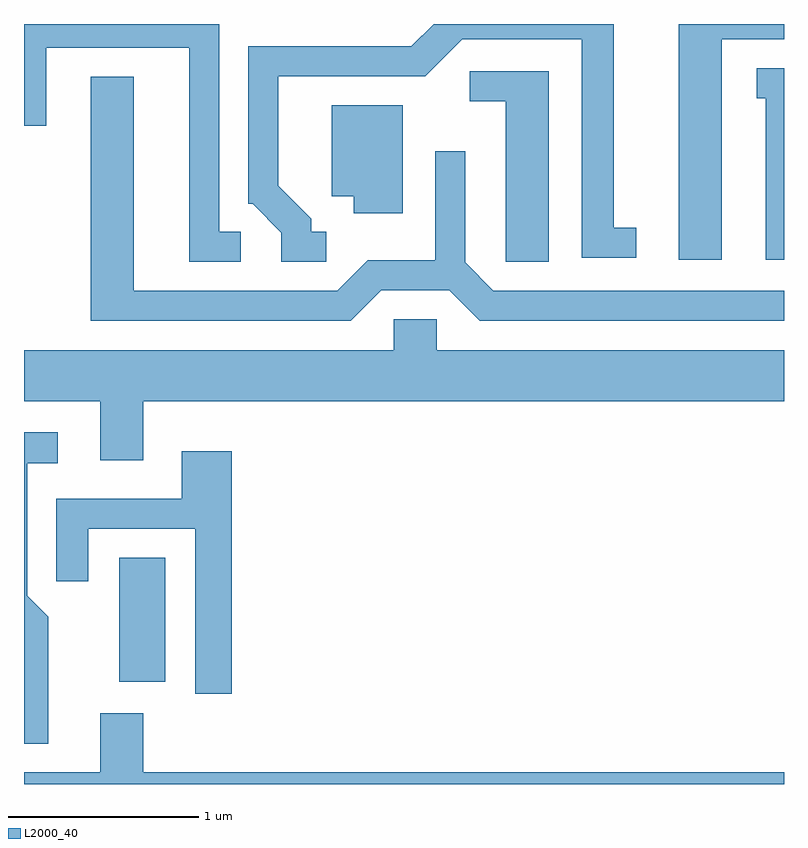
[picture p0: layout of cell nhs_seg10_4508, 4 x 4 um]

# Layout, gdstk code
import gdstk
lib = gdstk.Library(unit=1e-6, precision=1e-09)
def R(c, l, rs):  # rectangles x0, y0, x1, y1
    for r in rs: c.add(gdstk.rectangle(r[:2], r[2:], *l))
def P(c, l, *ps):  # polygons
    for p in ps: c.add(gdstk.Polygon(p, *l))
L2000_40 = (2000, 40)

nhs_seg10_4508 = lib.new_cell('nhs_seg10_4508')
R(nhs_seg10_4508, L2000_40, [(318.111,2159.061,318.354,2159.714)])
P(nhs_seg10_4508, L2000_40, [(319.203,2161.429),(319.124,2161.429),(319.124,2161.497),(318.949,2161.672),(318.949,2162.246),(319.722,2162.246),(319.917,2162.441),(320.546,2162.441),(320.546,2161.291),(320.833,2161.291),(320.833,2161.449),(320.714,2161.449),(320.714,2162.522),(319.767,2162.522),(319.649,2162.404),(318.791,2162.404),(318.791,2161.576),(318.814,2161.576),(318.966,2161.424),(318.966,2161.271),(319.203,2161.271)],
  [(321.284,2162.441),(321.611,2162.441),(321.611,2162.522),(321.056,2162.522),(321.056,2161.281),(321.284,2161.281)],
  [(318.753,2161.429),(318.639,2161.429),(318.639,2162.522),(317.611,2162.522),(317.611,2161.986),(317.729,2161.986),(317.729,2162.396),(318.481,2162.396),(318.481,2161.271),(318.753,2161.271)],
  [(321.611,2162.289),(321.468,2162.289),(321.468,2162.131),(321.516,2162.131),(321.516,2161.281),(321.611,2161.281)],
  [(320.374,2162.274),(319.958,2162.274),(319.958,2162.116),(320.146,2162.116),(320.146,2161.271),(320.374,2161.271)],
  [(319.492,2161.121),(319.849,2161.121),(320.009,2160.961),(321.611,2160.961),(321.611,2161.119),(320.082,2161.119),(319.934,2161.267),(319.934,2161.853),(319.776,2161.853),(319.776,2161.279),(319.419,2161.279),(319.259,2161.119),(318.189,2161.119),(318.189,2162.244),(317.961,2162.244),(317.961,2160.961),(319.332,2160.961)],
  [(319.604,2162.094),(319.231,2162.094),(319.231,2161.616),(319.346,2161.616),(319.346,2161.526),(319.604,2161.526)],
  [(318.239,2160.536),(321.611,2160.536),(321.611,2160.804),(319.784,2160.804),(319.784,2160.969),(319.556,2160.969),(319.556,2160.804),(317.611,2160.804),(317.611,2160.536),(318.011,2160.536),(318.011,2160.226),(318.239,2160.226)],
  [(317.739,2159.402),(317.629,2159.512),(317.629,2160.211),(317.788,2160.211),(317.788,2160.374),(317.611,2160.374),(317.611,2158.733),(317.739,2158.733)],
  [(318.704,2160.274),(318.441,2160.274),(318.441,2160.024),(317.781,2160.024),(317.781,2159.588),(317.949,2159.588),(317.949,2159.866),(318.511,2159.866),(318.511,2158.996),(318.704,2158.996)],
  [(321.611,2158.584),(318.239,2158.584),(318.239,2158.894),(318.011,2158.894),(318.011,2158.584),(317.611,2158.584),(317.611,2158.522),(321.611,2158.522)])

lib.write_gds('nhs_seg10_4508.gds')
